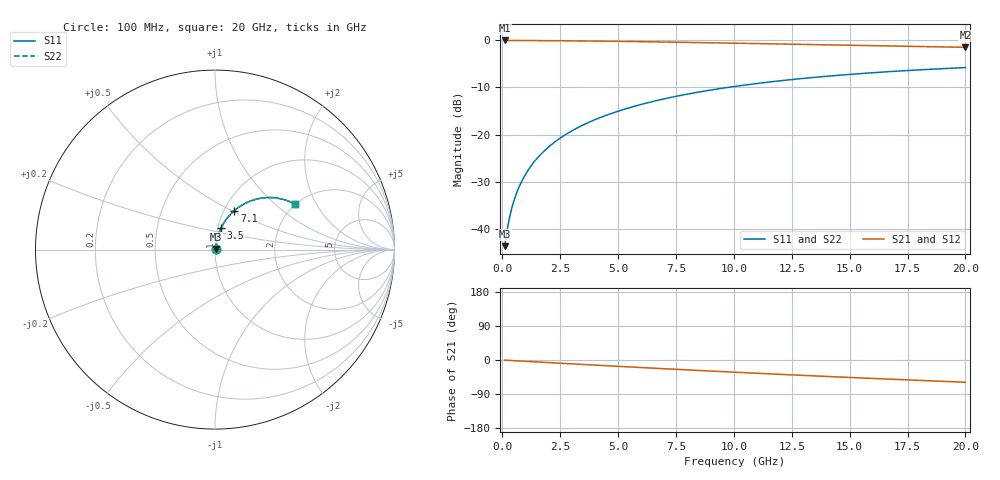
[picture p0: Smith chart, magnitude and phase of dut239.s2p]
! Touchstone file exported from HFSS 2026.1.0
!  File:  C:/ffzhzh/LocalFiles/Ansys_Project_Files/temp_train_BSMRDL_239_1782988383_40604.aedt
!  Generated:  06:34:28 PM Jul  2, 2026
!  Design:  BSMRDL
!  Project:  temp_train_BSMRDL_239_1782988383_40604
! Variables:
!  h_bsmrdl = 4.98um
!  h_ox = 20um
!  h_rdl = 5um
!  h_sub = 80um
!  h_tmrdl = 5um
!  h_tsv = 80um
!  h_via = 3um
!  l_bsmrdl = 931.54um
!  l_sub = 1331.54um
!  l_tmrdl = 200um
!  m_sub = 200um
!  pitch = 36.84um
!  r_tsv = 6um
!  s_tmrdl = 10um
!  w_bsmrdl = 12.59um
!  w_sub = 500um
!  w_tmrdl = 12um
!  x_tsv_center1 = 206um
!  x_tsv_center2 = 1150.13um
!  x_tsv_center3 = 1362.13um
!  x_tsv_center4 = 2306.26um
!  x_tsv_center5 = 2518.26um
!  x_tsv_center6 = 3462.39um
# GHz S MA R 50.000000
! Terminal data exported
! Port[1] = BSM_RDL1_1_T1
! Port[2] = BSM_RDL1_1_T2
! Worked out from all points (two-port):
!   200 points, 100 MHz to 20 GHz, reference 50 ohm
!   highest |S21| = -0.05 dB at 100 MHz (marker M1); lowest = -1.5 dB at 20 GHz (marker M2)
!   |S21| within 3 dB of the highest: start of sweep to end of sweep
!   lowest |S11| = -43.7 dB at 100 MHz (marker M3), VSWR 1.01, Z = 50.5 + j0.393 ohm
!   |S11| at or under -10 dB: start of sweep to 9.74 GHz
!   |S22| runs from -43.7 to -5.8 dB; largest |S21 - S12| = 5.3e-15
!   S11 on the Smith chart (normalised r, x): 100 MHz: 1.01, +0.01; 3.5 GHz: 1.04, +0.26; 7.1 GHz: 1.12, +0.52; 20 GHz: 1.99, +1.37
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0.1  0.006567 36.3  0.9947 -0.4  0.9947 -0.4  0.006567 36.3
! Gamma 0 0 0 0
! Port Impedance 50 0 50 0
0.2  0.009466 54.5  0.9946 -0.7  0.9946 -0.7  0.009466 54.5
0.3  0.01282 63.2  0.9944 -1.1  0.9944 -1.1  0.01282 63.2
0.4  0.0163 68.1  0.9942 -1.4  0.9942 -1.4  0.0163 68.1
0.5  0.01983 71.2  0.994 -1.7  0.994 -1.7  0.01983 71.2
0.6  0.02339 73.2  0.9938 -2.1  0.9938 -2.1  0.02339 73.2
0.8  0.03057 75.7  0.9934 -2.8  0.9934 -2.8  0.03057 75.7
1.1  0.04141 77.4  0.9928 -3.8  0.9928 -3.8  0.04141 77.4
1.5  0.0559 78.0  0.9918 -5.2  0.9918 -5.2  0.0559 78.0
1.8  0.06674 77.9  0.9909 -6.2  0.9909 -6.2  0.06674 77.9
2.1  0.07752 77.5  0.9898 -7.2  0.9898 -7.2  0.07752 77.5
2.7  0.09887 76.2  0.9873 -9.2  0.9873 -9.2  0.09887 76.2
3.5  0.1268 74.1  0.9831 -11.9  0.9831 -11.9  0.1268 74.1
4.2  0.1506 72.1  0.9789 -14.2  0.9789 -14.2  0.1506 72.1
5  0.177 69.8  0.9735 -16.8  0.9735 -16.8  0.177 69.8
6.8  0.2334 64.4  0.9597 -22.5  0.9597 -22.5  0.2334 64.4
7.1  0.2424 63.5  0.9572 -23.4  0.9572 -23.4  0.2424 63.5
8.5  0.2828 59.5  0.945 -27.7  0.945 -27.7  0.2828 59.4
10.1  0.3256 54.9  0.9304 -32.4  0.9304 -32.4  0.3256 54.9
13.4  0.4026 45.9  0.8989 -41.8  0.8989 -41.8  0.4026 45.9
16.7  0.4647 37.5  0.8684 -50.5  0.8684 -50.5  0.4648 37.4
20  0.513 29.5  0.8412 -58.7  0.8412 -58.7  0.5131 29.5
